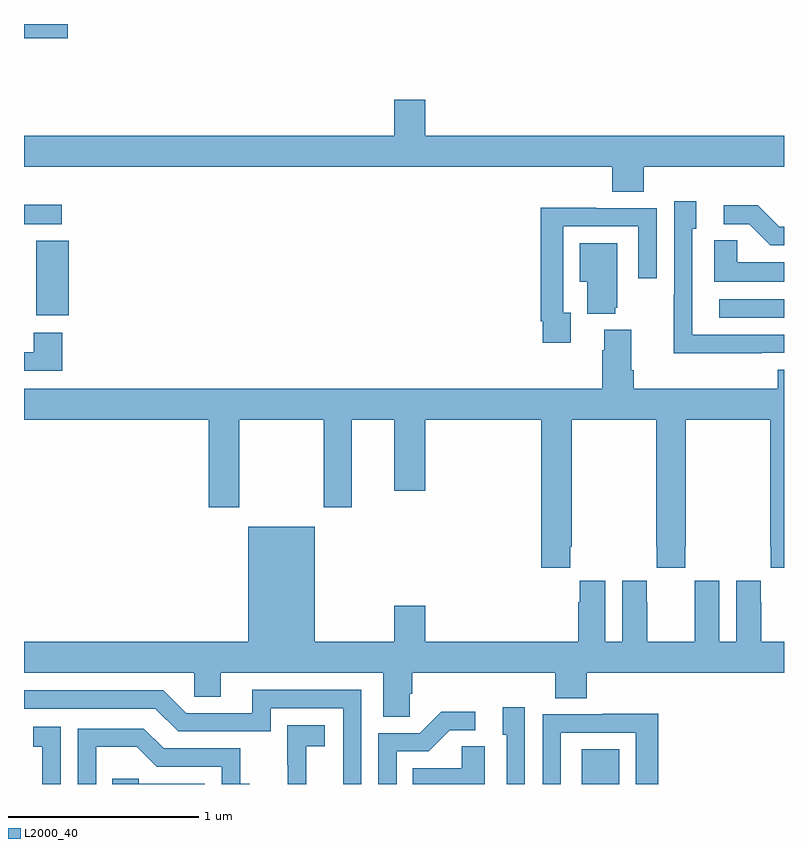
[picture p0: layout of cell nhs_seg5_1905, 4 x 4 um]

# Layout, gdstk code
import gdstk
lib = gdstk.Library(unit=1e-6, precision=1e-09)
def R(c, l, rs):  # rectangles x0, y0, x1, y1
    for r in rs: c.add(gdstk.rectangle(r[:2], r[2:], *l))
def P(c, l, *ps):  # polygons
    for p in ps: c.add(gdstk.Polygon(p, *l))
L2000_40 = (2000, 40)

nhs_seg5_1905 = lib.new_cell('nhs_seg5_1905')
R(nhs_seg5_1905, L2000_40, [(225.935,898.799,226.132,898.981), (226.659,901.254,227,901.35), (223.064,901.265,223.235,901.657), (223,901.745,223.198,901.849), (223,902.723,223.231,902.799)])
P(nhs_seg5_1905, L2000_40, [(226.262,902.048),(227,902.048),(227,902.212),(225.112,902.212),(225.112,902.401),(224.948,902.401),(224.948,902.212),(223,902.212),(223,902.048),(226.097,902.048),(226.097,901.915),(226.262,901.915)],
  [(226.883,901.068),(227,901.068),(227,901.164),(226.518,901.164),(226.518,901.722),(226.537,901.722),(226.537,901.867),(226.422,901.867),(226.422,901.373),(226.42,901.373),(226.42,901.067),(226.883,901.067)],
  [(227,901.731),(226.974,901.731),(226.861,901.844),(226.683,901.844),(226.683,901.746),(226.817,901.746),(226.928,901.635),(227,901.635)],
  [(225.877,901.278),(225.837,901.278),(225.837,901.734),(226.233,901.734),(226.233,901.461),(226.329,901.461),(226.329,901.83),(226.013,901.83),(226.013,901.832),(225.721,901.832),(225.721,901.234),(225.729,901.234),(225.729,901.122),(225.877,901.122)],
  [(227,901.546),(226.755,901.546),(226.755,901.661),(226.634,901.661),(226.634,901.442),(227,901.442)],
  [(226.112,901.305),(226.123,901.305),(226.123,901.645),(225.926,901.645),(225.926,901.442),(225.965,901.442),(225.965,901.274),(226.112,901.274)],
  [(225.875,900.049),(225.882,900.049),(225.882,900.716),(226.327,900.716),(226.327,900.049),(226.329,900.049),(226.329,899.937),(226.479,899.937),(226.479,900.049),(226.482,900.049),(226.482,900.716),(226.927,900.716),(226.927,900.049),(226.929,900.049),(226.929,899.937),(227,899.937),(227,900.979),(226.967,900.979),(226.967,900.88),(226.208,900.88),(226.208,900.976),(226.195,900.976),(226.195,901.189),(226.055,901.189),(226.055,901.082),(226.043,901.082),(226.043,900.88),(223,900.88),(223,900.716),(223.973,900.716),(223.973,900.255),(224.133,900.255),(224.133,900.716),(224.578,900.716),(224.578,900.255),(224.725,900.255),(224.725,900.716),(224.948,900.716),(224.948,900.342),(225.112,900.342),(225.112,900.716),(225.722,900.716),(225.722,899.937),(225.875,899.937)],
  [(223.202,901.174),(223.05,901.174),(223.05,901.071),(223,901.071),(223,900.975),(223.202,900.975)],
  [(226.878,899.756),(226.878,899.869),(226.748,899.869),(226.748,899.548),(226.66,899.548),(226.66,899.869),(226.53,899.869),(226.53,899.756),(226.529,899.756),(226.529,899.548),(226.279,899.548),(226.279,899.756),(226.278,899.756),(226.278,899.869),(226.148,899.869),(226.148,899.548),(226.06,899.548),(226.06,899.869),(225.926,899.869),(225.926,899.756),(225.917,899.756),(225.917,899.548),(225.112,899.548),(225.112,899.737),(224.948,899.737),(224.948,899.548),(224.53,899.548),(224.53,900.154),(224.18,900.154),(224.18,899.548),(223,899.548),(223,899.384),(223.896,899.384),(223.896,899.257),(224.035,899.257),(224.035,899.384),(224.891,899.384),(224.891,899.152),(225.03,899.152),(225.03,899.275),(225.044,899.275),(225.044,899.384),(225.797,899.384),(225.797,899.251),(225.962,899.251),(225.962,899.384),(227,899.384),(227,899.548),(226.879,899.548),(226.879,899.756)],
  [(224.775,899.295),(224.201,899.295),(224.201,899.172),(223.854,899.172),(223.734,899.292),(223,899.292),(223,899.196),(223.692,899.196),(223.812,899.076),(224.298,899.076),(224.298,899.199),(224.679,899.199),(224.679,898.799),(224.775,898.799)],
  [(225.636,899.203),(225.521,899.203),(225.521,899.058),(225.54,899.058),(225.54,898.799),(225.636,898.799)],
  [(224.961,898.971),(225.13,898.971),(225.241,899.082),(225.376,899.082),(225.376,899.18),(225.197,899.18),(225.084,899.067),(224.865,899.067),(224.865,898.799),(224.961,898.799)],
  [(225.825,899.07),(226.221,899.07),(226.221,898.799),(226.337,898.799),(226.337,899.168),(226.045,899.168),(226.045,899.166),(225.729,899.166),(225.729,898.799),(225.825,898.799)],
  [(224.486,898.997),(224.584,898.997),(224.584,899.107),(224.386,899.107),(224.386,898.901),(224.387,898.901),(224.387,898.799),(224.486,898.799)],
  [(223.194,899.101),(223.048,899.101),(223.048,898.995),(223.097,898.995),(223.097,898.799),(223.194,898.799)],
  [(223.38,898.994),(223.594,898.994),(223.698,898.89),(224.04,898.89),(224.04,898.799),(224.188,898.799),(224.188,898.801),(224.139,898.801),(224.139,898.986),(223.735,898.986),(223.63,899.091),(223.284,899.091),(223.284,898.799),(223.38,898.799)],
  [(225.424,898.997),(225.303,898.997),(225.303,898.882),(225.046,898.882),(225.046,898.799),(225.424,898.799)],
  [(223.95,898.8),(223.605,898.8),(223.605,898.827),(223.465,898.827),(223.465,898.799),(223.95,898.799)])

lib.write_gds('nhs_seg5_1905.gds')
